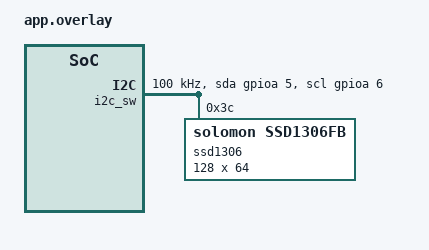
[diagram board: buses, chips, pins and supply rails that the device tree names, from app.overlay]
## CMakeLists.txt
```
cmake_minimum_required(VERSION 3.20.0)
find_package(Zephyr REQUIRED HINTS $ENV{ZEPHYR_BASE})
project(ssd1306)

include(ExternalProject)
include(CMakePrintHelpers)

zephyr_get_system_include_directories_for_lang_as_string(C ext_system_includes)
zephyr_get_include_directories_for_lang_as_string(C ext_includes)
zephyr_get_compile_definitions_for_lang_as_string(C ext_defs)
zephyr_get_compile_options_for_lang_as_String(C ext_opts)

set(CMAKE_C_STANDARD 17)
set(CMAKE_C_STANDARD_REQUIRED ON)
set(CMAKE_C_EXTENSIONS OFF)

target_sources(app PRIVATE src/main.c)
```

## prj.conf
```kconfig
# --- System & Memory ---
CONFIG_MAIN_STACK_SIZE=4096
CONFIG_SYSTEM_WORKQUEUE_STACK_SIZE=2048
CONFIG_PRINTK=y

# --- Hardware Drivers ---
CONFIG_GPIO=y
CONFIG_I2C=y
CONFIG_I2C_GPIO=y
CONFIG_DISPLAY=y
CONFIG_SSD1306=y

# --- Initialization Priorities ---
CONFIG_SERIAL_INIT_PRIORITY=40
CONFIG_I2C_INIT_PRIORITY=80

# --- Logging & Debug ---
CONFIG_LOG=y
CONFIG_LOG_MODE_IMMEDIATE=y
CONFIG_LOG_DEFAULT_LEVEL=4
CONFIG_I2C_LOG_LEVEL_DBG=y
CONFIG_GPIO_LOG_LEVEL_DBG=y
CONFIG_DISPLAY_LOG_LEVEL_DBG=y
# CONFIG_FAULT_DUMP=2
CONFIG_EXCEPTION_DEBUG=y

# --- LVGL Configuration ---
# CONFIG_LVGL=y
# CONFIG_LV_Z_MEM_POOL_SIZE=16384
# CONFIG_LV_COLOR_DEPTH_1=y
# CONFIG_LV_Z_SHELL=y
# CONFIG_LV_USE_LOG=y
# CONFIG_LV_USE_LABEL=y
# CONFIG_LV_USE_ARC=y
# CONFIG_LV_FONT_MONTSERRAT_14=y

# --- Shell ---
CONFIG_SHELL=y
CONFIG_I2C_SHELL=y
```

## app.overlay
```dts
/ {

    i2c_sw: i2c_gpio_0 {
        compatible = "gpio-i2c"; 
        status = "okay";
        scl-gpios = <&gpioa 6 (GPIO_PULL_UP | GPIO_OPEN_DRAIN)>;
        sda-gpios = <&gpioa 5 (GPIO_PULL_UP | GPIO_OPEN_DRAIN)>;
        clock-frequency = <I2C_BITRATE_STANDARD>;
        #address-cells = <1>;
        #size-cells = <0>;

        ssd1306: ssd1306@3c {
            compatible = "solomon,ssd1306fb";
            reg = <0x3c>;
            width = <128>;
            height = <64>;
            segment-offset = <0>;
            page-offset = <0>;
            display-offset = <0>;
            multiplex-ratio = <63>;
            segment-remap;
            com-invdir;
            prechargep = <0x22>;
            ready-time-ms = < 250 >;
        };
    };
};
```

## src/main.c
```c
#include <zephyr/kernel.h>
#include <zephyr/device.h>
#include <stdio.h>

int main(void)
{
    while (1) {
        printk("Hello world!\n");
        k_sleep(K_SECONDS(1));
    }
}
```
